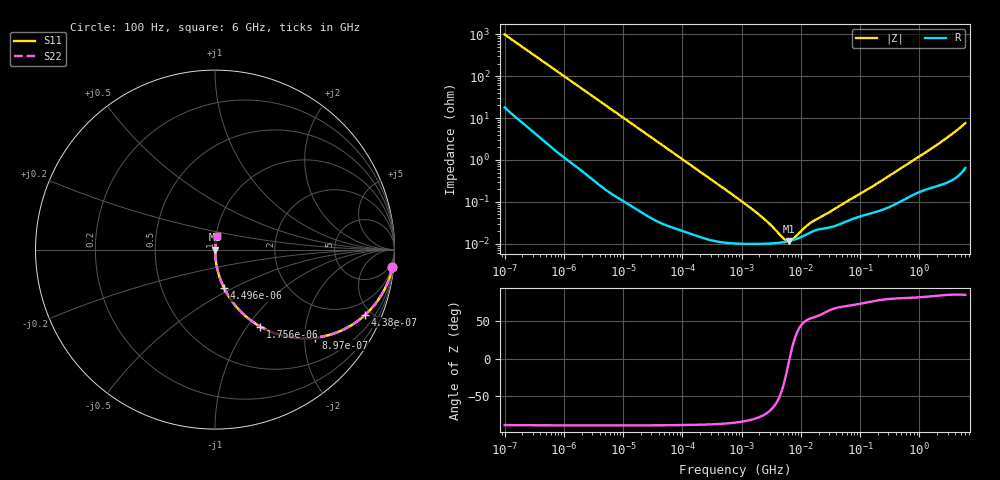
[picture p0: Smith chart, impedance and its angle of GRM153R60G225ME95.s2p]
!Murata Part Number: GRM153R60G225ME95
!These Parameters are Measured in Series Mode Connection
!Data Generated on Mar 30, 2021
!  o--ll--o
!Port1  Port2
!  o------o
!Operation Temp=25[degC], DC Bias Voltage=0[V]
!Freq. Start=100[Hz] Stop=6[GHz] 401[Steps]
# Hz S RI R 50
!Freq.(Hz) S11(Real) S11(Imag) S21(Real) S21(Imag) S12(Real) S12(Imag) S22(Real) S22(Imag)
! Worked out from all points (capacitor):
!   401 points, 100 Hz to 6 GHz, reference 50 ohm
!   read as one part in series: C = 1.6 uF near 109 Hz
!   lowest |Z| = 11.5 mohm at 6.353 MHz (marker M1)
!   series resonance near 6.473 MHz, so ESL is about 380 pH
!   S11 on the Smith chart (normalised r, x): 100 Hz: 1, -20; 438 Hz: 1.06, -4.59; 897 Hz: 1.03, -2.26; 1.756 kHz: 1.01, -1.16; 4.496 kHz: 1.00, -0.45; 6 GHz: 1.01, +0.15
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100  0.9882 -0.0992  0.0118 0.0992  0.0118 0.0992  0.9882 -0.0992
245  0.9406 -0.2291  0.0594 0.2291  0.0594 0.2291  0.9406 -0.2291
438  0.8374 -0.3625  0.1626 0.3625  0.1626 0.3625  0.8374 -0.3625
600  0.7365 -0.4345  0.2635 0.4345  0.2635 0.4345  0.7365 -0.4345
897  0.5591 -0.4908  0.4409 0.4908  0.4409 0.4908  0.5591 -0.4908
1227  0.4066 -0.4856  0.5934 0.4856  0.5934 0.4856  0.4066 -0.4856
1756  0.2533 -0.4294  0.7467 0.4294  0.7467 0.4294  0.2533 -0.4294
2008  0.2067 -0.3996  0.7933 0.3996  0.7933 0.3996  0.2067 -0.3996
2873  0.1143 -0.3131  0.8857 0.3131  0.8857 0.3131  0.1143 -0.3131
4496  0.051 -0.2152  0.949 0.2152  0.949 0.2152  0.051 -0.2152
11514  0.0088 -0.0883  0.9912 0.0883  0.9912 0.0883  0.0088 -0.0883
40335  0.000981 -0.0256  0.999 0.0256  0.999 0.0256  0.000981 -0.0256
774597  0.000102 -0.00134  0.9999 0.00134  0.9999 0.00134  0.000102 -0.00134
2372521  9.93e-05 -0.000383  0.9999 0.000383  0.9999 0.000383  9.93e-05 -0.000383
5311619  0.000109 -6.37e-05  0.9999 6.37e-05  0.9999 6.37e-05  0.000109 -6.37e-05
6353432  0.000115 -5.9e-06  0.9999 5.9e-06  0.9999 5.9e-06  0.000115 -5.9e-06
7599586  0.000123 5.08e-05  0.9999 -5.08e-05  0.9999 -5.08e-05  0.000123 5.08e-05
1.137099e7  0.000155 0.000177  0.9998 -0.000177  0.9998 -0.000177  0.000155 0.000177
1.555665e7  0.000193 0.00027  0.9998 -0.00027  0.9998 -0.00027  0.000193 0.00027
3.124326e8  0.000765 0.00413  0.9992 -0.00413  0.9992 -0.00413  0.000765 0.00413
1.95892e9  0.00284 0.0224  0.9972 -0.0224  0.9972 -0.0224  0.00284 0.0224
6e9  0.012 0.0743  0.988 -0.0743  0.988 -0.0743  0.012 0.0743
